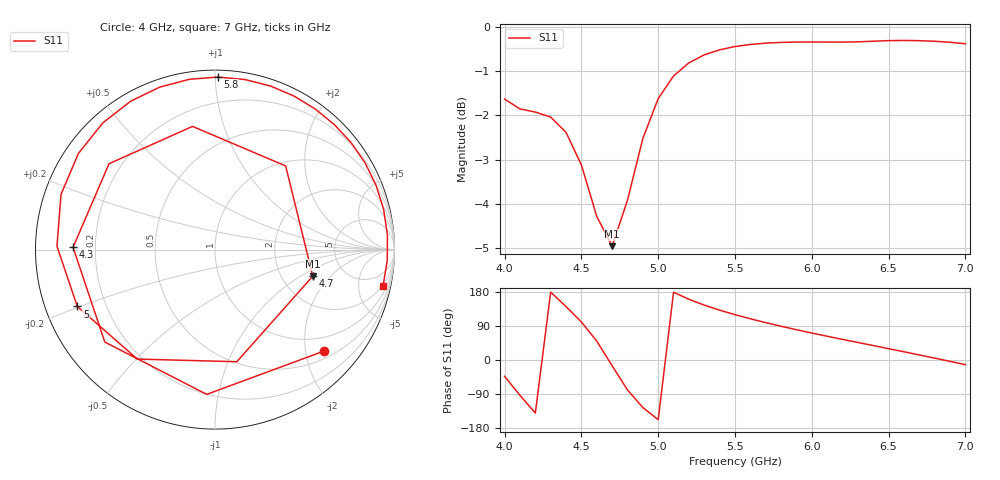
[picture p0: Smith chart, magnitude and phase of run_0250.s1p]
! Touchstone file exported from HFSS 2024.2.0
!  File:  C:/Users/wsak9/Desktop/Sim Fast/Widenad Patch/WP_AI_V1_sweep.aedt
!  Generated:  01:30:36 AM Oct 14, 2026
!  Design:  A1_model
!  Project:  WP_AI_V1_sweep
!  Setup:  Setup1
!  Solution:  Sweep
! Variables:
!  Air_gap = 1.75mm
!  Curve_Amp1 = 1.29
!  Curve_len1 = 1
!  Curve_pos = 12.985mm
!  Extra = 5.03mm
!  H_sub = 0.79mm
!  L_Patch = 21.97mm
!  L_Patch1 = 13.97mm
!  Sx = 4.68mm
!  Sy = 0.62mm
!  WS = 0.21mm
!  W_Patch = 12.66mm
!  W_Patch1 = 8.94mm
!Data is not renormalized
# GHz S MA
! Terminal data exported
! Port[1] = 1
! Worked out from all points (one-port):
!   31 points, 4 GHz to 7 GHz, reference per port
!   lowest |S11| = -5.0 dB at 4.7 GHz (marker M1), VSWR 3.59
!   |S11| at or under -10 dB: nowhere
!   S11 on the Smith chart (normalised r, x): 4 GHz: 0.66, -2.38; 4.3 GHz: 0.12, +0.01; 4.7 GHz: 2.97, -1.29; 5 GHz: 0.10, -0.20; 5.8 GHz: 0.04, +1.02; 7 GHz: 1.79, -8.89
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4  0.829 -43.0
4.1  0.8079 -93.3
4.2  0.8014 -140.0
4.3  0.7909 179.1
4.4  0.7599 141.0
4.5  0.6978 100.3
4.6  0.6101 49.8
4.7  0.5645 -15.2
4.8  0.6364 -79.0
4.9  0.7479 -125.4
5  0.83 -157.6
5.1  0.8807 178.8
5.2  0.9114 160.2
5.3  0.9306 144.8
5.4  0.9429 131.5
5.5  0.951 119.6
5.6  0.9562 108.7
5.7  0.9595 98.6
5.8  0.9614 89.1
5.9  0.9622 80.0
6  0.9624 71.2
6.1  0.9622 62.7
6.3  0.9627 46.2
6.5  0.9658 29.9
6.7  0.9657 13.4
6.8  0.9642 5.0
6.9  0.9617 -3.6
7  0.958 -12.3
